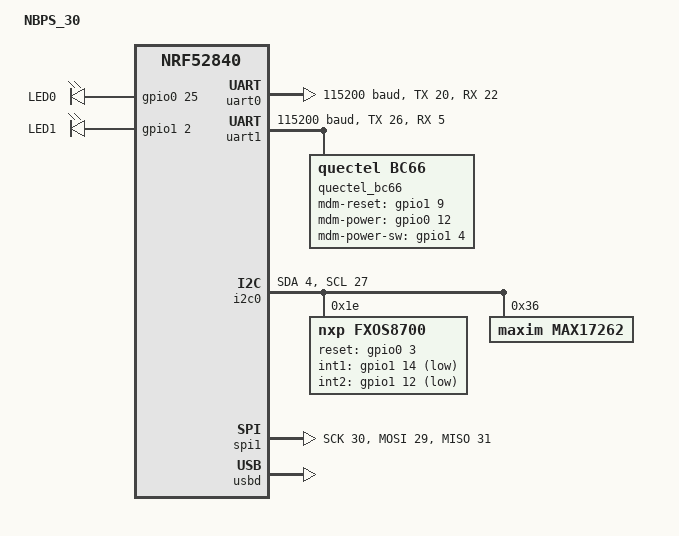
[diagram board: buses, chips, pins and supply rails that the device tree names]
/*
 * Copyright (c) 2020 Mobilisis d.o.o.
 *
 * SPDX-License-Identifier: Apache-2.0
 */

/dts-v1/;
#include <nordic/nrf52840_qiaa.dtsi>

/ {
	model = "NBPS_30";
	compatible = "mobilisis,nbps_30_square";

	chosen {
		zephyr,console = &uart0;
		zephyr,shell-uart = &uart0;
		zephyr,uart-mcumgr = &uart0;
		zephyr,bt-mon-uart = &uart0;
		zephyr,bt-c2h-uart = &uart0;
		zephyr,sram = &sram0;
		zephyr,flash = &flash0;
		zephyr,code-partition = &slot0_partition;
	};

	leds {
		compatible = "gpio-leds";
		led0: led_0 {
			gpios = <&gpio0 25 GPIO_ACTIVE_HIGH>;
			label = "LED0";
		};

		led1: led_1 {
			gpios = <&gpio1 2 GPIO_ACTIVE_HIGH>;
			label = "LED1";
		};
	};

	/* These aliases are provided for compatibility with samples */
	aliases {
		led0 = &led0;
		led1 = &led1;
	};
};

&gpiote {
	status = "okay";
};

&gpio0 {
	status = "okay";
};

&gpio1 {
	status = "okay";
};

/* Console */
&uart0 {
	compatible = "nordic,nrf-uart";
	status = "okay";
	current-speed = <115200>;
	tx-pin = <20>;
	rx-pin = <22>;
};

/* BC66 modem */
&uart1 {
	status = "okay";
	current-speed = <115200>;
	tx-pin = <26>;
	rx-pin = <5>;

	quectel_bc66 {
		compatible = "quectel,bc66";
		label = "quectel_bc66";
		mdm-reset-gpios = <&gpio1 9 GPIO_ACTIVE_HIGH>;
		mdm-power-gpios = <&gpio0 12 GPIO_ACTIVE_HIGH>;
		mdm-power-sw-gpios = <&gpio1 4 GPIO_ACTIVE_HIGH>;
		status = "okay";
	};
};

&i2c0 {
	compatible = "nordic,nrf-twi";
	status = "okay";
	sda-pin = <4>;
	scl-pin = <27>;

	/* FXOS8700 */
	fxos8700@1e {
		compatible = "nxp,fxos8700";
		reg = <0x1e>;
		label = "FXOS8700";
		reset-gpios = <&gpio0 3 GPIO_ACTIVE_HIGH>; /* RST */
		int1-gpios = <&gpio1 14 GPIO_ACTIVE_LOW>; /* MAG */
		int2-gpios = <&gpio1 12 GPIO_ACTIVE_LOW>; /* ACC */
	};

	max17262@36 {
		compatible = "maxim,max17262";
		reg = <0x36>;
		label = "MAX17262";
		design-voltage = <3600>;
		desired-voltage = <3600>;
		desired-charging-current = <2000>;
		design-cap = <17000>;
		empty-voltage = <3300>;
		recovery-voltage = <3880>;
		charge-voltage = <3600>;
	};
};

/* Cannot be used together with i2c0 */
&spi0 {
	compatible = "nordic,nrf-spi";
	/*status = "okay";*/
	/*sck-pin = <27>;*/
	/*mosi-pin = <26>;*/
	/*miso-pin = <29>;*/
};

/* A111 radar */
&spi1 {
	compatible = "nordic,nrf-spi";
	status = "okay";
	sck-pin = <30>;
	mosi-pin = <29>;
	miso-pin = <31>;
};

&flash0 {
	/*
	 * For more information, see:
	 * http://docs.zephyrproject.org/latest/guides/dts/index.html#flash-partitions
	 */
	partitions {
		compatible = "fixed-partitions";
		#address-cells = <1>;
		#size-cells = <1>;

		boot_partition: partition@0 {
			label = "mcuboot";
			reg = <0x000000000 0x0000C000>;
		};
		slot0_partition: partition@c000 {
			label = "image-0";
			reg = <0x0000C000 0x00067000>;
		};
		slot1_partition: partition@73000 {
			label = "image-1";
			reg = <0x00073000 0x00067000>;
		};
		scratch_partition: partition@da000 {
			label = "image-scratch";
			reg = <0x000da000 0x0001e000>;
		};

		/*
		 * The flash starting at 0x000f8000 and ending at
		 * 0x000fffff is reserved for use by the application.
		 */

		/*
		 * Storage partition will be used by FCB/LittleFS/NVS
		 * if enabled.
		 */
		storage_partition: partition@f8000 {
			label = "storage";
			reg = <0x000f8000 0x00008000>;
		};
	};
};

&usbd {
	compatible = "nordic,nrf-usbd";
	status = "okay";
};
